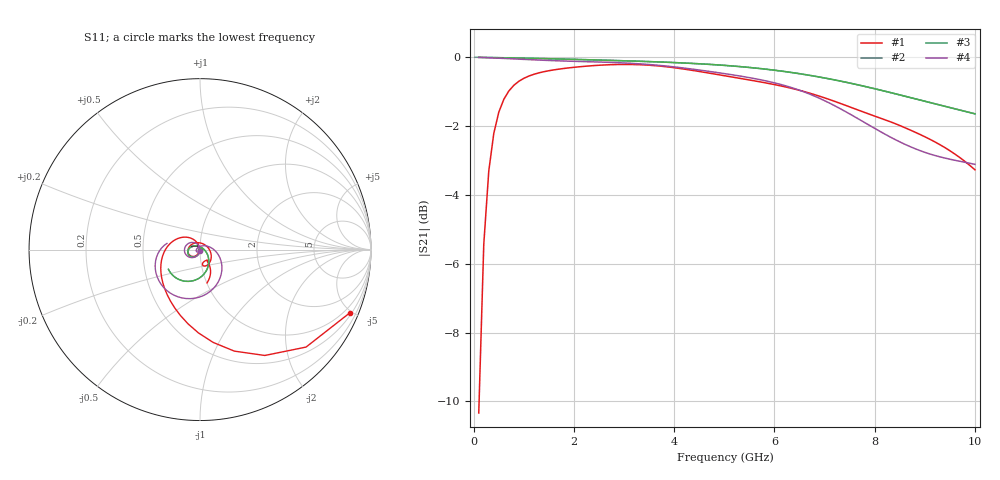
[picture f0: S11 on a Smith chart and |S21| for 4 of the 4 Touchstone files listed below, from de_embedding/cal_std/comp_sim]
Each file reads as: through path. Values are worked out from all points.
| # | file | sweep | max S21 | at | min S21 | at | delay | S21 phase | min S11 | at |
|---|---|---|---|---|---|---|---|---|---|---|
| 1 | fixture_cap_fixture.s2p | 100 MHz to 10 GHz | -0.21 dB | 3 GHz | -10.3 dB | 100 MHz | 148 ps | 119 deg at 5.1 GHz | -44.2 dB | 3.8 GHz |
| 2 | fixture_single.s2p | 25 MHz to 10 GHz | 0.00 dB | 25 MHz | -1.6 dB | 10 GHz | 67 ps | -117 deg at 5.025 GHz | -59.5 dB | 25 MHz |
| 3 | fixture_TestPort_DUTPort.s2p | 100 MHz to 10 GHz | 0.00 dB | 100 MHz | -1.6 dB | 10 GHz | 67 ps | -119 deg at 5.1 GHz | -47.7 dB | 100 MHz |
| 4 | fixture_thru_fixture.s2p | 100 MHz to 10 GHz | -0.01 dB | 100 MHz | -3.1 dB | 10 GHz | 134 ps | 122 deg at 5.1 GHz | -54.1 dB | 3.9 GHz |
